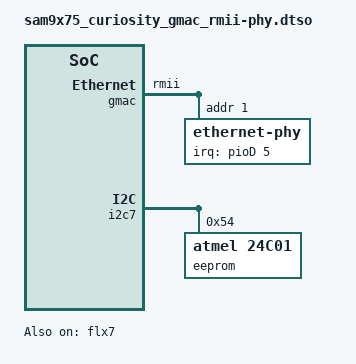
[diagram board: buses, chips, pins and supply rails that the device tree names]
// SPDX-License-Identifier: (GPL-2.0+ OR MIT)
/*
 * Device Tree file for SAM9X75 CURIOSITY board overlay blob for a single-port
 * RMII PHY Daughter Card.
 *
 * Copyright (C) 2025 Microchip Technology Inc. and its subsidiaries
 *
 * Author: Jerry Ray <jerry.ray@microchip.com>
 *
 */
/dts-v1/;
/plugin/;

#include <dt-bindings/gpio/gpio.h>
#include <dt-bindings/interrupt-controller/irq.h>
#include <dt-bindings/mfd/atmel-flexcom.h>
#include <dt-bindings/pinctrl/at91.h>

&flx7 {
	atmel,flexcom-mode = <ATMEL_FLEXCOM_MODE_TWI>;
	status = "okay";
};

&gmac {
	phy-mode = "rmii";
	#address-cells = <1>;
	#size-cells = <0>;
	pinctrl-names = "default";
	pinctrl-0 = <&pinctrl_gmac_rmii_default>;
//	magic-packet;
	status = "okay";

	ethernet-phy@1 {
		reg = <0x1>;
		interrupt-parent = <&pioD>;
		interrupts = <5 IRQ_TYPE_LEVEL_LOW>;
	};
};

&i2c7 {
	#address-cells = <1>;
	#size-cells = <0>;
	pinctrl-names = "default";
	pinctrl-0 = <&pinctrl_flx7_twi_default>;
	i2c-analog-filter;
	i2c-digital-filter;
	i2c-digital-filter-width-ns = <35>;
	dmas = <0>, <0>;
	status = "okay";

	eeprom@54 {
		compatible = "atmel,24c01";
		reg = <0x54>;
		pagesize = <8>;
		status = "okay";
	};
};

&pinctrl {
	flexcom {
		pinctrl_flx7_twi_default: flx7-twi-default {
			atmel,pins =
				<AT91_PIOC 0 AT91_PERIPH_C AT91_PINCTRL_PULL_UP
				 AT91_PIOC 1 AT91_PERIPH_C AT91_PINCTRL_PULL_UP>;
		};
	};

	gmac {
		pinctrl_gmac_rmii_default: gmac-rmii-default {
			atmel,pins =
                               <AT91_PIOB 13 AT91_PERIPH_A  AT91_PINCTRL_SLEWRATE_DIS                          /* ETH_TX0   */
                                AT91_PIOB 14 AT91_PERIPH_A  AT91_PINCTRL_SLEWRATE_DIS                          /* ETH_TX1   */
                                AT91_PIOB 7  AT91_PERIPH_A  AT91_PINCTRL_SLEWRATE_DIS                          /* ETH_TXEN  */
                                AT91_PIOB 6  AT91_PERIPH_A  (AT91_PINCTRL_SLEWRATE_DIS | AT91_PINCTRL_DIS_SCHMIT)                              /* ETH_TXCK (REFCLK) */
                                AT91_PIOB 11 AT91_PERIPH_A  AT91_PINCTRL_SLEWRATE_DIS                          /* ETH_RX0   */
                                AT91_PIOB 12 AT91_PERIPH_A  AT91_PINCTRL_SLEWRATE_DIS                          /* ETH_RX1   */
                                AT91_PIOB 0  AT91_PERIPH_C  AT91_PINCTRL_PULL_DOWN                             /* ETH_RXER in RMII  */
                                AT91_PIOB 3  AT91_PERIPH_A  AT91_PINCTRL_SLEWRATE_DIS                          /* ETH_RXDV */
                                AT91_PIOB 10 AT91_PERIPH_A  AT91_PINCTRL_NONE                                  /* ETH_MDC   */
                                AT91_PIOB 9  AT91_PERIPH_A  AT91_PINCTRL_NONE                                  /* ETH_MDIO  */
                                AT91_PIOD 5  AT91_PERIPH_GPIO  AT91_PINCTRL_NONE>;                             /* ETH_INT   */
		};
	};
};

&{/} {
	model = "SAM9X75-Curiosity: Single-port RMII PHY Daughter Card";
};
